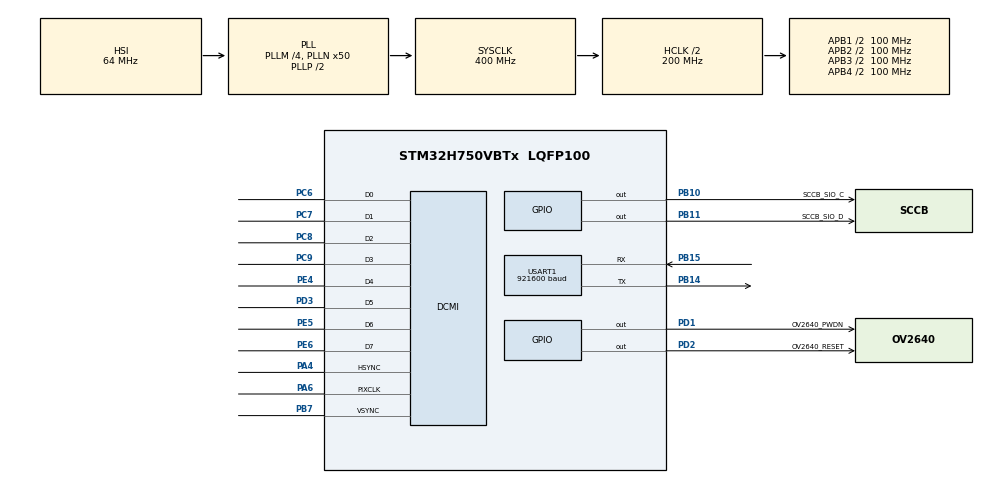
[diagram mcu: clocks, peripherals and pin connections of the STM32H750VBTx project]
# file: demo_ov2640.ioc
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CORTEX_M7.default_mode_Activation=1
DCMI.JPEGMode=DCMI_JPEG_ENABLE
DCMI.PCKPolarity=DCMI_PCKPOLARITY_RISING
Dma.DCMI.1.Direction=DMA_PERIPH_TO_MEMORY
Dma.DCMI.1.EventEnable=DISABLE
Dma.DCMI.1.FIFOMode=DMA_FIFOMODE_ENABLE
Dma.DCMI.1.FIFOThreshold=DMA_FIFO_THRESHOLD_FULL
Dma.DCMI.1.Instance=DMA1_Stream1
Dma.DCMI.1.MemBurst=DMA_MBURST_SINGLE
Dma.DCMI.1.MemDataAlignment=DMA_MDATAALIGN_WORD
Dma.DCMI.1.MemInc=DMA_MINC_ENABLE
Dma.DCMI.1.Mode=DMA_CIRCULAR
Dma.DCMI.1.PeriphBurst=DMA_PBURST_SINGLE
Dma.DCMI.1.PeriphDataAlignment=DMA_PDATAALIGN_WORD
Dma.DCMI.1.PeriphInc=DMA_PINC_DISABLE
Dma.DCMI.1.Polarity=HAL_DMAMUX_REQ_GEN_RISING
Dma.DCMI.1.Priority=DMA_PRIORITY_LOW
Dma.DCMI.1.RequestNumber=1
Dma.DCMI.1.SignalID=NONE
Dma.DCMI.1.SyncEnable=DISABLE
Dma.DCMI.1.SyncPolarity=HAL_DMAMUX_SYNC_NO_EVENT
Dma.DCMI.1.SyncRequestNumber=1
Dma.DCMI.1.SyncSignalID=NONE
Dma.Request0=USART1_TX
Dma.Request1=DCMI
Dma.USART1_TX.0.Direction=DMA_MEMORY_TO_PERIPH
Dma.USART1_TX.0.EventEnable=DISABLE
Dma.USART1_TX.0.FIFOMode=DMA_FIFOMODE_DISABLE
Dma.USART1_TX.0.Instance=DMA1_Stream0
Dma.USART1_TX.0.MemDataAlignment=DMA_MDATAALIGN_BYTE
Dma.USART1_TX.0.MemInc=DMA_MINC_ENABLE
Dma.USART1_TX.0.Mode=DMA_NORMAL
Dma.USART1_TX.0.PeriphDataAlignment=DMA_PDATAALIGN_BYTE
Dma.USART1_TX.0.PeriphInc=DMA_PINC_DISABLE
Dma.USART1_TX.0.Polarity=HAL_DMAMUX_REQ_GEN_RISING
Dma.USART1_TX.0.Priority=DMA_PRIORITY_LOW
Dma.USART1_TX.0.RequestNumber=1
Dma.USART1_TX.0.SignalID=NONE
Dma.USART1_TX.0.SyncEnable=DISABLE
Dma.USART1_TX.0.SyncPolarity=HAL_DMAMUX_SYNC_NO_EVENT
Dma.USART1_TX.0.SyncRequestNumber=1
Dma.USART1_TX.0.SyncSignalID=NONE
Mcu.Family=STM32H7
Mcu.Name=STM32H750VBTx
Mcu.Package=LQFP100
NVIC.DCMI_IRQn=true\:0\:0\:false\:false\:true\:true\:true\:true
NVIC.DMA1_Stream0_IRQn=true\:0\:0\:false\:false\:true\:false\:true\:true
NVIC.DMA1_Stream1_IRQn=true\:0\:0\:false\:false\:true\:false\:true\:true
NVIC.PriorityGroup=NVIC_PRIORITYGROUP_4
NVIC.USART1_IRQn=true\:0\:0\:false\:false\:true\:true\:true\:true
PA13\ (JTMS/SWDIO).Mode=Serial_Wire
PA13\ (JTMS/SWDIO).Signal=DEBUG_JTMS-SWDIO
PA14\ (JTCK/SWCLK).Mode=Serial_Wire
PA14\ (JTCK/SWCLK).Signal=DEBUG_JTCK-SWCLK
PA4.Mode=Slave_8_bits_External_Synchro
PA4.Signal=DCMI_HSYNC
PA6.Mode=Slave_8_bits_External_Synchro
PA6.Signal=DCMI_PIXCLK
PB10.GPIO_Label=SCCB_SIO_C
PB10.Signal=GPIO_Output
PB11.GPIO_Label=SCCB_SIO_D
PB11.Signal=GPIO_Output
PB14.Mode=Asynchronous
PB14.Signal=USART1_TX
PB15.Mode=Asynchronous
PB15.Signal=USART1_RX
PB7.Mode=Slave_8_bits_External_Synchro
PB7.Signal=DCMI_VSYNC
PC6.Mode=Slave_8_bits_External_Synchro
PC6.Signal=DCMI_D0
PC7.Mode=Slave_8_bits_External_Synchro
PC7.Signal=DCMI_D1
PC8.Mode=Slave_8_bits_External_Synchro
PC8.Signal=DCMI_D2
PC9.Mode=Slave_8_bits_External_Synchro
PC9.Signal=DCMI_D3
PD1.GPIO_Label=OV2640_PWDN
PD1.Signal=GPIO_Output
PD2.GPIO_Label=OV2640_RESET
PD2.Signal=GPIO_Output
PD3.Mode=Slave_8_bits_External_Synchro
PD3.Signal=DCMI_D5
PE4.Mode=Slave_8_bits_External_Synchro
PE4.Signal=DCMI_D4
PE5.Mode=Slave_8_bits_External_Synchro
PE5.Signal=DCMI_D6
PE6.Mode=Slave_8_bits_External_Synchro
PE6.Signal=DCMI_D7
ProjectManager.HeapSize=0x200
ProjectManager.StackSize=0x400
ProjectManager.TargetToolchain=STM32CubeIDE
RCC.ADCFreq_Value=129000000
RCC.APB1Freq_Value=100000000
RCC.APB2Freq_Value=100000000
RCC.APB3Freq_Value=100000000
RCC.APB4Freq_Value=100000000
RCC.CortexFreq_Value=400000000
RCC.D1PPRE=RCC_APB3_DIV2
RCC.D2PPRE1=RCC_APB1_DIV2
RCC.D2PPRE2=RCC_APB2_DIV2
RCC.D3PPRE=RCC_APB4_DIV2
RCC.DIVM1=4
RCC.DIVN1=50
RCC.HCLKFreq_Value=200000000
RCC.HPRE=RCC_HCLK_DIV2
RCC.PLL2FRACN=0
RCC.PLL3FRACN=0
RCC.PLLFRACN=0
RCC.SYSCLKFreq_VALUE=400000000
RCC.SYSCLKSource=RCC_SYSCLKSOURCE_PLLCLK
RCC.USBFreq_Value=400000000
USART1.BaudRate=921600
USART1.VirtualMode-Asynchronous=VM_ASYNC
VP_MEMORYMAP_VS_MEMORYMAP.Mode=CurAppReg
board=custom

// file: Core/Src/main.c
/* USER CODE BEGIN Header */
/**
 ******************************************************************************
 * @file           : main.c
 * @brief          : Main program body
 ******************************************************************************
 * @attention
 *
 * Copyright (c) 2024 STMicroelectronics.
 * All rights reserved.
 *
 * This software is licensed under terms that can be found in the LICENSE file
 * in the root directory of this software component.
 * If no LICENSE file comes with this software, it is provided AS-IS.
 *
 ******************************************************************************
 */
/* USER CODE END Header */
#include "main.h"

/* USER CODE BEGIN Includes */
#include "string.h"
#include "ov2640.h"
#include "systick.h"

/* USER CODE END Includes */

/* USER CODE BEGIN PM */
#define JPEG_BUFFER_LENGTH 10*1024/4
#define USART_BUFFER_LENGTH JPEG_BUFFER_LENGTH*4
#define JPEG_BUFFER_NUM 2
/* USER CODE END PM */

DCMI_HandleTypeDef hdcmi;
DMA_HandleTypeDef hdma_dcmi;

UART_HandleTypeDef huart1;
DMA_HandleTypeDef hdma_usart1_tx;

/* USER CODE BEGIN PV */
uint32_t jpeg_buffer[JPEG_BUFFER_LENGTH] = { 0 };
uint8_t usart_buffer[USART_BUFFER_LENGTH] = { 0 };
uint32_t *pjpeg_buffer = jpeg_buffer;
uint8_t *pusart_buffer = usart_buffer;
__IO uint8_t jpeg_new_frame = 0;

/* USER CODE END PV */

void SystemClock_Config(void);
static void MPU_Config(void);
static void MX_GPIO_Init(void);
static void MX_DMA_Init(void);
static void MX_USART1_UART_Init(void);
static void MX_DCMI_Init(void);

int main(void) {

	/* MPU Configuration--------------------------------------------------------*/
	MPU_Config();

	/* MCU Configuration--------------------------------------------------------*/

	/* Reset of all peripherals, Initializes the Flash interface and the Systick. */
	HAL_Init();

	/* Configure the system clock */
	SystemClock_Config();

	/* Initialize all configured peripherals */
	MX_GPIO_Init();
	MX_DMA_Init();
	MX_USART1_UART_Init();
	MX_DCMI_Init();
	/* USER CODE BEGIN 2 */
	OV2640_Init();
	HAL_DCMI_Start_DMA(&hdcmi, DCMI_MODE_CONTINUOUS, (uint32_t) pjpeg_buffer,
	JPEG_BUFFER_LENGTH);

	/* USER CODE END 2 */

	/* Infinite loop */
	/* USER CODE BEGIN WHILE */
	while (1) {
		if (jpeg_new_frame) {
			uint8_t *ptemp_buffer = (uint8_t*) pjpeg_buffer;

			memcpy(pusart_buffer, ptemp_buffer, USART_BUFFER_LENGTH);
			HAL_UART_Transmit_DMA(&huart1, pusart_buffer, USART_BUFFER_LENGTH);
			jpeg_new_frame = 0;

//			uint32_t jpeg_index = 0;
//			uint8_t *pjpeg_start = NULL;
//			uint32_t jpeg_length = 0;
//			for (uint32_t i = 0; i < USART_BUFFER_LENGTH; i++) {
//				if (pusart_buffer[i] == 0xFF && pusart_buffer[i + 1] == 0xD8) {
//					jpeg_index = i;
//					pjpeg_start = &pusart_buffer[i];
//					break;
//				}
//			}
//
//			if (pjpeg_start != NULL) {
//				for (uint32_t i = USART_BUFFER_LENGTH; i > jpeg_index; i--) {
//					if (pusart_buffer[i - 1] == 0xFF && pusart_buffer[i] == 0xD9) {
//						jpeg_length = i - jpeg_index + 1;
//						break;
//					}
//				}
//			}
//
//			if (pjpeg_start != NULL && jpeg_length > 0) {
//				HAL_UART_Transmit_DMA(&huart1, pjpeg_start, jpeg_length);
//			}

		}
		/* USER CODE END WHILE */

	}
}

void SystemClock_Config(void) {
	RCC_OscInitTypeDef RCC_OscInitStruct = { 0 };
	RCC_ClkInitTypeDef RCC_ClkInitStruct = { 0 };

	/** Supply configuration update enable
	 */
	HAL_PWREx_ConfigSupply(PWR_LDO_SUPPLY);

	/** Configure the main internal regulator output voltage
	 */
	__HAL_PWR_VOLTAGESCALING_CONFIG(PWR_REGULATOR_VOLTAGE_SCALE1);

	while (!__HAL_PWR_GET_FLAG(PWR_FLAG_VOSRDY)) {
	}

	/** Initializes the RCC Oscillators according to the specified parameters
	 * in the RCC_OscInitTypeDef structure.
	 */
	RCC_OscInitStruct.OscillatorType = RCC_OSCILLATORTYPE_HSI;
	RCC_OscInitStruct.HSIState = RCC_HSI_DIV1;
	RCC_OscInitStruct.HSICalibrationValue = RCC_HSICALIBRATION_DEFAULT;
	RCC_OscInitStruct.PLL.PLLState = RCC_PLL_ON;
	RCC_OscInitStruct.PLL.PLLSource = RCC_PLLSOURCE_HSI;
	RCC_OscInitStruct.PLL.PLLM = 4;
	RCC_OscInitStruct.PLL.PLLN = 50;
	RCC_OscInitStruct.PLL.PLLP = 2;
	RCC_OscInitStruct.PLL.PLLQ = 2;
	RCC_OscInitStruct.PLL.PLLR = 2;
	RCC_OscInitStruct.PLL.PLLRGE = RCC_PLL1VCIRANGE_3;
	RCC_OscInitStruct.PLL.PLLVCOSEL = RCC_PLL1VCOWIDE;
	RCC_OscInitStruct.PLL.PLLFRACN = 0;
	if (HAL_RCC_OscConfig(&RCC_OscInitStruct) != HAL_OK) {
		Error_Handler();
	}

	/** Initializes the CPU, AHB and APB buses clocks
	 */
	RCC_ClkInitStruct.ClockType = RCC_CLOCKTYPE_HCLK | RCC_CLOCKTYPE_SYSCLK
			| RCC_CLOCKTYPE_PCLK1 | RCC_CLOCKTYPE_PCLK2 | RCC_CLOCKTYPE_D3PCLK1
			| RCC_CLOCKTYPE_D1PCLK1;
	RCC_ClkInitStruct.SYSCLKSource = RCC_SYSCLKSOURCE_PLLCLK;
	RCC_ClkInitStruct.SYSCLKDivider = RCC_SYSCLK_DIV1;
	RCC_ClkInitStruct.AHBCLKDivider = RCC_HCLK_DIV2;
	RCC_ClkInitStruct.APB3CLKDivider = RCC_APB3_DIV2;
	RCC_ClkInitStruct.APB1CLKDivider = RCC_APB1_DIV2;
	RCC_ClkInitStruct.APB2CLKDivider = RCC_APB2_DIV2;
	RCC_ClkInitStruct.APB4CLKDivider = RCC_APB4_DIV2;

	if (HAL_RCC_ClockConfig(&RCC_ClkInitStruct, FLASH_LATENCY_2) != HAL_OK) {
		Error_Handler();
	}
}

static void MX_DCMI_Init(void) {

	hdcmi.Instance = DCMI;
	hdcmi.Init.SynchroMode = DCMI_SYNCHRO_HARDWARE;
	hdcmi.Init.PCKPolarity = DCMI_PCKPOLARITY_RISING;
	hdcmi.Init.VSPolarity = DCMI_VSPOLARITY_LOW;
	hdcmi.Init.HSPolarity = DCMI_HSPOLARITY_LOW;
	hdcmi.Init.CaptureRate = DCMI_CR_ALL_FRAME;
	hdcmi.Init.ExtendedDataMode = DCMI_EXTEND_DATA_8B;
	hdcmi.Init.JPEGMode = DCMI_JPEG_ENABLE;
	hdcmi.Init.ByteSelectMode = DCMI_BSM_ALL;
	hdcmi.Init.ByteSelectStart = DCMI_OEBS_ODD;
	hdcmi.Init.LineSelectMode = DCMI_LSM_ALL;
	hdcmi.Init.LineSelectStart = DCMI_OELS_ODD;
	if (HAL_DCMI_Init(&hdcmi) != HAL_OK) {
		Error_Handler();
	}

}

static void MX_USART1_UART_Init(void) {

	huart1.Instance = USART1;
	huart1.Init.BaudRate = 921600;
	huart1.Init.WordLength = UART_WORDLENGTH_8B;
	huart1.Init.StopBits = UART_STOPBITS_1;
	huart1.Init.Parity = UART_PARITY_NONE;
	huart1.Init.Mode = UART_MODE_TX_RX;
	huart1.Init.HwFlowCtl = UART_HWCONTROL_NONE;
	huart1.Init.OverSampling = UART_OVERSAMPLING_16;
	huart1.Init.OneBitSampling = UART_ONE_BIT_SAMPLE_DISABLE;
	huart1.Init.ClockPrescaler = UART_PRESCALER_DIV1;
	huart1.AdvancedInit.AdvFeatureInit = UART_ADVFEATURE_NO_INIT;
	if (HAL_UART_Init(&huart1) != HAL_OK) {
		Error_Handler();
	}
	if (HAL_UARTEx_SetTxFifoThreshold(&huart1, UART_TXFIFO_THRESHOLD_1_8)
			!= HAL_OK) {
		Error_Handler();
	}
	if (HAL_UARTEx_SetRxFifoThreshold(&huart1, UART_RXFIFO_THRESHOLD_1_8)
			!= HAL_OK) {
		Error_Handler();
	}
	if (HAL_UARTEx_DisableFifoMode(&huart1) != HAL_OK) {
		Error_Handler();
	}

}

static void MX_DMA_Init(void) {

	/* DMA controller clock enable */
	__HAL_RCC_DMA1_CLK_ENABLE();

	/* DMA interrupt init */
	/* DMA1_Stream0_IRQn interrupt configuration */
	HAL_NVIC_SetPriority(DMA1_Stream0_IRQn, 0, 0);
	HAL_NVIC_EnableIRQ(DMA1_Stream0_IRQn);
	/* DMA1_Stream1_IRQn interrupt configuration */
	HAL_NVIC_SetPriority(DMA1_Stream1_IRQn, 0, 0);
	HAL_NVIC_EnableIRQ(DMA1_Stream1_IRQn);

}

static void MX_GPIO_Init(void) {
	GPIO_InitTypeDef GPIO_InitStruct = { 0 };

	/* GPIO Ports Clock Enable */
	__HAL_RCC_GPIOE_CLK_ENABLE();
	__HAL_RCC_GPIOA_CLK_ENABLE();
	__HAL_RCC_GPIOB_CLK_ENABLE();
	__HAL_RCC_GPIOC_CLK_ENABLE();
	__HAL_RCC_GPIOD_CLK_ENABLE();

	/*Configure GPIO pin Output Level */
	HAL_GPIO_WritePin(GPIOB, SCCB_SIO_C_Pin | SCCB_SIO_D_Pin, GPIO_PIN_RESET);

	/*Configure GPIO pin Output Level */
	HAL_GPIO_WritePin(GPIOD, OV2640_PWDN_Pin | OV2640_RESET_Pin, GPIO_PIN_RESET);

	/*Configure GPIO pins : SCCB_SIO_C_Pin SCCB_SIO_D_Pin */
	GPIO_InitStruct.Pin = SCCB_SIO_C_Pin | SCCB_SIO_D_Pin;
	GPIO_InitStruct.Mode = GPIO_MODE_OUTPUT_PP;
	GPIO_InitStruct.Pull = GPIO_NOPULL;
	GPIO_InitStruct.Speed = GPIO_SPEED_FREQ_LOW;
	HAL_GPIO_Init(GPIOB, &GPIO_InitStruct);

	/*Configure GPIO pins : OV2640_PWDN_Pin OV2640_RESET_Pin */
	GPIO_InitStruct.Pin = OV2640_PWDN_Pin | OV2640_RESET_Pin;
	GPIO_InitStruct.Mode = GPIO_MODE_OUTPUT_PP;
	GPIO_InitStruct.Pull = GPIO_NOPULL;
	GPIO_InitStruct.Speed = GPIO_SPEED_FREQ_LOW;
	HAL_GPIO_Init(GPIOD, &GPIO_InitStruct);

}

/* USER CODE BEGIN 4 */

void HAL_DCMI_FrameEventCallback(DCMI_HandleTypeDef *hdcmi) {
	if (jpeg_new_frame == 0) {
		jpeg_new_frame = 1;
	}
}

/* USER CODE END 4 */

/* MPU Configuration */

void MPU_Config(void) {
	MPU_Region_InitTypeDef MPU_InitStruct = { 0 };

	/* Disables the MPU */
	HAL_MPU_Disable();

	/** Initializes and configures the Region and the memory to be protected
	 */
	MPU_InitStruct.Enable = MPU_REGION_ENABLE;
	MPU_InitStruct.Number = MPU_REGION_NUMBER0;
	MPU_InitStruct.BaseAddress = 0x0;
	MPU_InitStruct.Size = MPU_REGION_SIZE_4GB;
	MPU_InitStruct.SubRegionDisable = 0x87;
	MPU_InitStruct.TypeExtField = MPU_TEX_LEVEL0;
	MPU_InitStruct.AccessPermission = MPU_REGION_NO_ACCESS;
	MPU_InitStruct.DisableExec = MPU_INSTRUCTION_ACCESS_DISABLE;
	MPU_InitStruct.IsShareable = MPU_ACCESS_SHAREABLE;
	MPU_InitStruct.IsCacheable = MPU_ACCESS_NOT_CACHEABLE;
	MPU_InitStruct.IsBufferable = MPU_ACCESS_NOT_BUFFERABLE;

	HAL_MPU_ConfigRegion(&MPU_InitStruct);
	/* Enables the MPU */
	HAL_MPU_Enable(MPU_PRIVILEGED_DEFAULT);

}

void Error_Handler(void) {
	__disable_irq();
	while (1) {
	}
}
